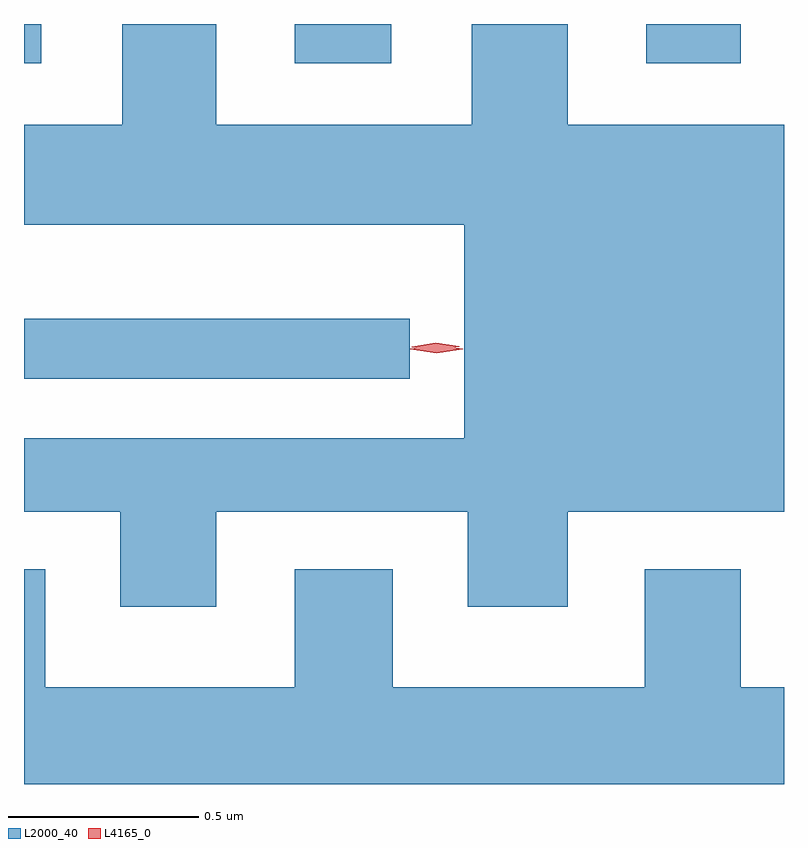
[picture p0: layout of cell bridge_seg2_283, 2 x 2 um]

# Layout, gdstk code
import gdstk
lib = gdstk.Library(unit=1e-6, precision=1e-09)
def R(c, l, rs):  # rectangles x0, y0, x1, y1
    for r in rs: c.add(gdstk.rectangle(r[:2], r[2:], *l))
def P(c, l, *ps):  # polygons
    for p in ps: c.add(gdstk.Polygon(p, *l))
L2000_40 = (2000, 40)
L4165_0 = (4165, 0)

bridge_seg2_283 = lib.new_cell('bridge_seg2_283')
R(bridge_seg2_283, L2000_40, [(639.863,1047.176,640.878,1047.334), (639.863,1048.006,639.909,1048.109), (640.576,1048.006,640.829,1048.109), (641.501,1048.006,641.749,1048.109)])
P(bridge_seg2_283, L2000_40, [(640.369,1046.826),(641.031,1046.826),(641.031,1046.576),(641.294,1046.576),(641.294,1046.826),(641.863,1046.826),(641.863,1047.844),(641.294,1047.844),(641.294,1048.109),(641.041,1048.109),(641.041,1047.844),(640.369,1047.844),(640.369,1048.109),(640.121,1048.109),(640.121,1047.844),(639.863,1047.844),(639.863,1047.581),(641.021,1047.581),(641.021,1047.019),(639.863,1047.019),(639.863,1046.826),(640.116,1046.826),(640.116,1046.576),(640.369,1046.576)],
  [(641.863,1046.364),(641.749,1046.364),(641.749,1046.674),(641.496,1046.674),(641.496,1046.364),(640.834,1046.364),(640.834,1046.674),(640.576,1046.674),(640.576,1046.364),(639.919,1046.364),(639.919,1046.674),(639.863,1046.674),(639.863,1046.109),(641.863,1046.109)])
P(bridge_seg2_283, L4165_0, [(640.949,1047.243),(640.88,1047.253),(640.879,1047.253),(640.88,1047.254),(640.949,1047.263),(641.017,1047.254),(641.018,1047.253),(641.017,1047.253)],
  [(640.946,1047.25),(640.884,1047.259),(640.883,1047.26),(640.884,1047.26),(640.946,1047.27),(641.008,1047.261),(641.008,1047.26),(641.008,1047.26)])

lib.write_gds('bridge_seg2_283.gds')
